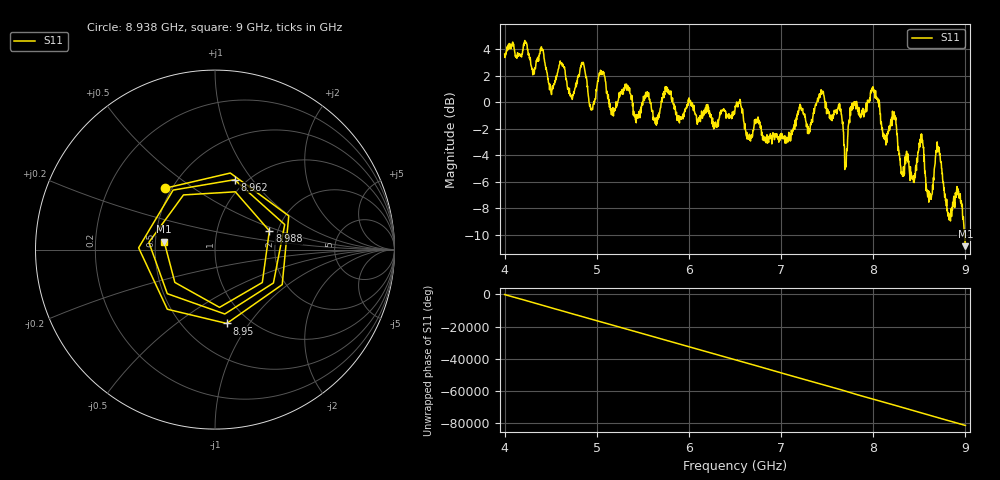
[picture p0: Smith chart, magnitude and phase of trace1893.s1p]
! Created with skrf 1.8.0 (http://scikit-rf.org).
# Hz S RI R 50.0
!freq ReS11 ImS11
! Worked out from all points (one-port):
!   1601 points, 4 GHz to 9 GHz, reference 50 ohm
!   lowest |S11| = -10.9 dB at 9 GHz (marker M1), VSWR 1.80, Z = 27.8 + j2.68 ohm
!   |S11| at or under -10 dB: 8.994563 GHz to end of sweep
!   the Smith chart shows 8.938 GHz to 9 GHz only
!   S11 on the Smith chart (normalised r, x): 8.938 GHz: 0.46, +0.39; 8.95 GHz: 0.79, -0.79; 8.962 GHz: 0.88, +0.82; 8.988 GHz: 1.81, +0.42; 9 GHz: 0.56, +0.05
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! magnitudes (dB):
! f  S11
! 4 GHz  3.7
! 4.403 GHz  4.0
! 4.506 GHz  0.7
! 4.625 GHz  2.8
! 4.731 GHz  0.5
! 4.853 GHz  3.0
! 4.941 GHz  -0.6
! 5.05 GHz  2.2
! 5.162 GHz  -0.5
! 5.25 GHz  0.6
! 5.875 GHz  -1.0
! 6.5 GHz  -0.6
! 7.125 GHz  -2.1
! 7.441 GHz  0.7
! 7.638 GHz  -0.2
! 7.7 GHz  -4.8
! 7.75 GHz  -0.4
! 8 GHz  0.9
! 8.375 GHz  -3.9
! 8.522 GHz  -2.8
! 8.616 GHz  -6.9
! 8.7 GHz  -3.7
! 8.816 GHz  -8.3
! 8.938 GHz  -7.1
! 8.95 GHz  -7.6
! 8.962 GHz  -7.9
! 8.988 GHz  -9.9
! 9 GHz  -10.9
